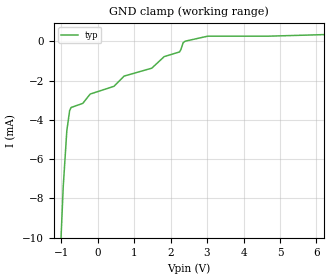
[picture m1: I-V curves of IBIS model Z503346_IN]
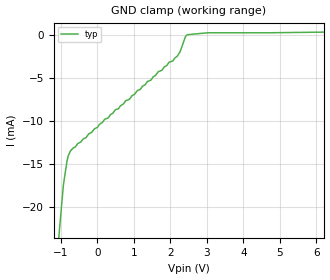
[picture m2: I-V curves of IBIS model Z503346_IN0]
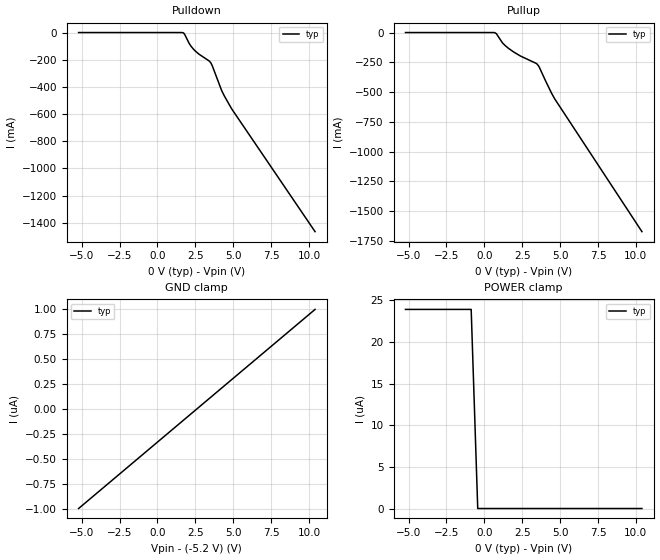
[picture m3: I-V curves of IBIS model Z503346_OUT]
| YOU ARE ONLY AUTHORIZED TO USE THIS SOFTWARE
| ACCORDING TO LICENSOR'S LICENSE RESTRICTIONS.
[IBIS Ver] 3.1
[File Name] mc10124p.ibs
[File Rev] 2.0
[Source] Measured and created by ICX Technology
[Date] Friday 7/14/00 9:07:46 AM
[Copyright]
| (C) COPYRIGHT 1993-2000
| MENTOR GRAPHICS CORPORATION
| ICX STANDARD LIBRARY, ICX PROJECT MODELING,
| ICX CUSTOM MODELING, ICX VENDOR MODEL
| ALL RIGHTS RESERVED.
| THE FOLLOWING ARE TRADEMARKS OR SERVICE MARKS OF
| MENTOR GRAPHICS CORPORATION:ICX (R), ICX STANDARD
| LIBRARY(R), ICX PROJECT MODELING(R), ICX CUSTOM
| MODELING(R), qualityIBIS(TM), MODELVIEWER(TM),
| AND MODELEDITOR(TM)
| ALL COPIES OF SOFTWARE, INCLUDING BUT NOT LIMITED TO
| ANY MODIFICATIONS, ENHANCEMENTS OR DERIVATIVE WORKS,
| MUST CONTAIN ALL MENTOR GRAPHICS CORPORATION'S
| NOTICES AND LEGENDS, INCLUDING THOSE EMBEDDED IN
| SOFTWARE AND THOSE AFFIXED TO SOFTWARE MEDIUM
| AND CONTAINER, AS RECEIVED FROM MENTOR GRAPHICS
| CORPORATION.
|  ZAP Model Builder 2.7
[Component] MC10124P
[Manufacturer] OnSemiconductor
[Package]
| variable   typ   min   max
R_pkg  .212ohms NA NA
L_pkg  4.758nH NA NA
C_pkg  1.143pF NA NA
[Pin] signal_name  model_name  R_pin  L_pin C_pin
1 BOUT Z503346_OUT .224 7.258n 1.578p
2 AOUT Z503346_OUT .216 5.258n 1.288p
3 _BOUT Z503346_OUT0 .208 3.758n .998p
4 _AOUT Z503346_OUT0 .2 2.758n .708p
5 AIN Z503346_IN .2 2.758n .708p
6 CS Z503346_IN0 .208 3.758n .998p
7 BIN Z503346_IN .216 5.258n 1.288p
8 VEE POWER .224 7.258n 1.578p
9 VCC POWER .224 7.258n 1.578p
10 CIN Z503346_IN .216 5.258n 1.288p
11 DIN Z503346_IN .208 3.758n .998p
12 _COUT Z503346_OUT0 .2 2.758n .708p
13 _DOUT Z503346_OUT0 .2 2.758n .708p
14 DOUT Z503346_OUT .208 3.758n .998p
15 COUT Z503346_OUT .216 5.258n 1.288p
16 GROUND GND .224 7.258n 1.578p
| Models and submodels in the file (4): Z503346_IN (Input), Z503346_IN0 (Input), Z503346_OUT (Output_ECL), Z503346_OUT0 (Output_ECL)
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| (C) COPYRIGHT 1993-2000
| MENTOR GRAPHICS CORPORATION
| ICX STANDARD LIBRARY, ICX PROJECT MODELING,
| ICX CUSTOM MODELING, ICX VENDOR MODEL
| ALL RIGHTS RESERVED.
| THE FOLLOWING ARE TRADEMARKS OR SERVICE MARKS OF
| MENTOR GRAPHICS CORPORATION:ICX (R), ICX STANDARD
| LIBRARY(R), ICX PROJECT MODELING(R), ICX CUSTOM
| MODELING(R), qualityIBIS(TM), MODELVIEWER(TM),
| AND MODELEDITOR(TM)
| ALL COPIES OF SOFTWARE, INCLUDING BUT NOT LIMITED TO
| ANY MODIFICATIONS, ENHANCEMENTS OR DERIVATIVE WORKS,
| MUST CONTAIN ALL MENTOR GRAPHICS CORPORATION'S
| NOTICES AND LEGENDS, INCLUDING THOSE EMBEDDED IN
| SOFTWARE AND THOSE AFFIXED TO SOFTWARE MEDIUM
| AND CONTAINER, AS RECEIVED FROM MENTOR GRAPHICS
| CORPORATION.
| Model Application Version 1.89 2/18/99.
[Model] Z503346_IN
Model_type Input
Vinl = 800.0mV
Vinh = 2.000V
C_comp 4.000pF NA NA
| variable typ   min   max
[Voltage Range] 5.000V NA NA
[GND Clamp Reference] 0.000V NA NA
[POWER Clamp Reference] 5.000V NA NA
[GND Clamp]
-5V       -404.9mA   NA         NA
-1.055V   -12.3mA    NA         NA
-942.3mV  -7.41mA    NA         NA
-843.7mV  -4.552mA   NA         NA
-766.6mV  -3.528mA   NA         NA
-727.5mV  -3.368mA   NA         NA
727.5mV   -1.766mA   NA         NA
1.485V    -1.364mA   NA         NA
1.826V    -772.7uA   NA         NA
2.246V    -534.2uA   NA         NA
2.402V    13.04uA    NA         NA
10V       548.8uA    NA         NA
[POWER Clamp]
-5V       0A         NA         NA
10V       0A         NA         NA
| (C) COPYRIGHT 1993-2000
| MENTOR GRAPHICS CORPORATION
| ICX STANDARD LIBRARY, ICX PROJECT MODELING,
| ICX CUSTOM MODELING, ICX VENDOR MODEL
| ALL RIGHTS RESERVED.
| THE FOLLOWING ARE TRADEMARKS OR SERVICE MARKS OF
| MENTOR GRAPHICS CORPORATION:ICX (R), ICX STANDARD
| LIBRARY(R), ICX PROJECT MODELING(R), ICX CUSTOM
| MODELING(R), qualityIBIS(TM), MODELVIEWER(TM),
| AND MODELEDITOR(TM)
| ALL COPIES OF SOFTWARE, INCLUDING BUT NOT LIMITED TO
| ANY MODIFICATIONS, ENHANCEMENTS OR DERIVATIVE WORKS,
| MUST CONTAIN ALL MENTOR GRAPHICS CORPORATION'S
| NOTICES AND LEGENDS, INCLUDING THOSE EMBEDDED IN
| SOFTWARE AND THOSE AFFIXED TO SOFTWARE MEDIUM
| AND CONTAINER, AS RECEIVED FROM MENTOR GRAPHICS
| CORPORATION.
| Model Application Version 1.89 2/18/99.
[Model] Z503346_IN0
Model_type Input
Vinl = 800.0mV
Vinh = 2.000V
C_comp 4.000pF NA NA
| variable typ   min   max
[Voltage Range] 5.000V NA NA
[GND Clamp Reference] 0.000V NA NA
[POWER Clamp Reference] 5.000V NA NA
[GND Clamp]
-5V       -436.1mA   NA         NA
-1.122V   -26.83mA   NA         NA
-831.9mV  -14.7mA    NA         NA
-737.1mV  -13.5mA    NA         NA
1.368V    -5.425mA   NA         NA
1.47V     -5.24mA    NA         NA
1.67V     -4.261mA   NA         NA
2.067V    -3.018mA   NA         NA
2.266V    -1.942mA   NA         NA
2.402V    -311.4uA   NA         NA
2.464V    39.9uA     NA         NA
10V       542.2uA    NA         NA
[POWER Clamp]
-5V       0A         NA         NA
10V       0A         NA         NA
| (C) COPYRIGHT 1993-2000
| MENTOR GRAPHICS CORPORATION
| ICX STANDARD LIBRARY, ICX PROJECT MODELING,
| ICX CUSTOM MODELING, ICX VENDOR MODEL
| ALL RIGHTS RESERVED.
| THE FOLLOWING ARE TRADEMARKS OR SERVICE MARKS OF
| MENTOR GRAPHICS CORPORATION:ICX (R), ICX STANDARD
| LIBRARY(R), ICX PROJECT MODELING(R), ICX CUSTOM
| MODELING(R), qualityIBIS(TM), MODELVIEWER(TM),
| AND MODELEDITOR(TM)
| ALL COPIES OF SOFTWARE, INCLUDING BUT NOT LIMITED TO
| ANY MODIFICATIONS, ENHANCEMENTS OR DERIVATIVE WORKS,
| MUST CONTAIN ALL MENTOR GRAPHICS CORPORATION'S
| NOTICES AND LEGENDS, INCLUDING THOSE EMBEDDED IN
| SOFTWARE AND THOSE AFFIXED TO SOFTWARE MEDIUM
| AND CONTAINER, AS RECEIVED FROM MENTOR GRAPHICS
| CORPORATION.
| Model Application Version 1.89 2/18/99.
[Model] Z503346_OUT
Model_type Output_ECL
Vref=-2.000V
Rref=50.00ohms
Cref=0.000F
Vmeas=-1.290V
C_comp 8.000pF NA NA
| variable typ   min   max
[Voltage Range] -5.200V NA NA
[POWER Clamp Reference] 0.000V NA NA
[Pullup Reference] 0.000V NA NA
[Pulldown Reference] 0.000V NA NA
[GND Clamp Reference] -5.200V NA NA
[GND Clamp]
-5.2V     -1uA       NA         NA
10.4V     1uA        NA         NA
[Pulldown]
-5.2V     249.9uA    NA         NA
1.588V    146.9uA    NA         NA
1.739V    -4.512mA   NA         NA
2.095V    -79.93mA   NA         NA
2.388V    -123.5mA   NA         NA
2.75V     -159.7mA   NA         NA
3.413V    -208.9mA   NA         NA
3.52V     -222.1mA   NA         NA
3.618V    -244.2mA   NA         NA
4.233V    -425.6mA   NA         NA
4.902V    -562.3mA   NA         NA
10.4V     -1.466A    NA         NA
[Pullup]
-5.2V     132.5uA    NA         NA
686.9mV   -563.5uA   NA         NA
799mV     -9.557mA   NA         NA
1.192V    -85.51mA   NA         NA
1.582V    -131.2mA   NA         NA
2.388V    -197.4mA   NA         NA
3.475V    -263.8mA   NA         NA
3.642V    -294.9mA   NA         NA
4.443V    -510.8mA   NA         NA
4.649V    -557.9mA   NA         NA
10.4V     -1.673A    NA         NA
[POWER Clamp]
-5.2V     23.9uA     NA         NA
-865.1mV  23.9uA     NA         NA
-432.6mV  0A         NA         NA
10.4V     0A         NA         NA
[Ramp]
| variable typ min max
dV/dt_r 525.7m/2.367n NA NA
dV/dt_f 525.7m/1.645n NA NA
R_load = 50.00Ohms
